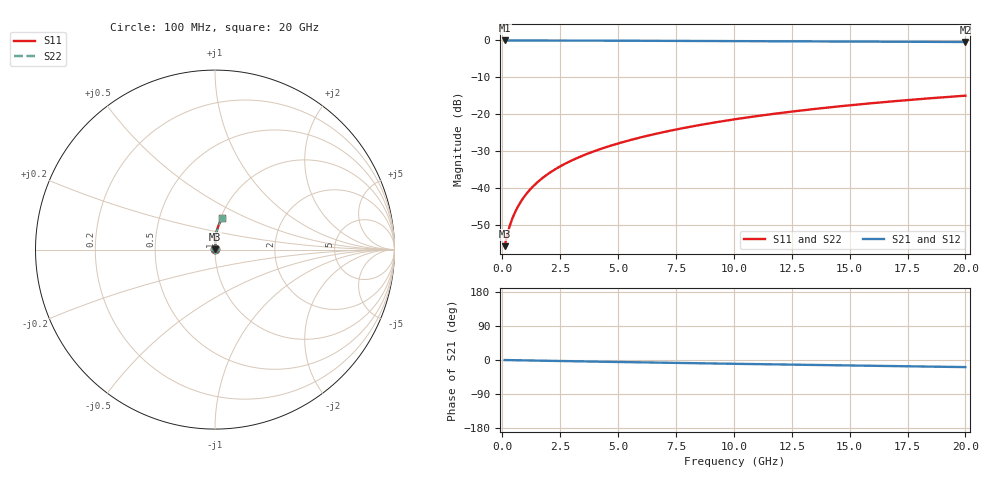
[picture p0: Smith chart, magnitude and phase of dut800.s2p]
! Touchstone file exported from HFSS 2024.1.0
!  File:  C:/UserFiles/LocalFiles/RDL_TSV_Batchsim/temp_RDL_bottom_800_1779861935.aedt
!  Generated:  02:07:44 PM May 27, 2026
!  Design:  RDL_bottom
!  Project:  temp_RDL_bottom_800_1779861935
!  Setup:  Setup1
!  Solution:  Sweep
! Variables:
!  dtsv = 10.80580581um
!  hbump = 3um
!  htsv = 95.8um
!  ldown = 266.58um
!  lrdl = 100um
!  p = 40
!  p1 = 40.22um
!  rhole = 1um
!  t = 450um
!  tdown = 3.79um
!  trdl = 3.915915916um
!  wdown = 20.79um
!  wrdl = 20um
# GHz S MA R 50.000000
! Terminal data exported
! Port[1] = RDL1_T1
! Port[2] = RDL1_T2
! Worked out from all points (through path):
!   200 points, 100 MHz to 20 GHz, reference 50 ohm
!   highest |S21| = -0.01 dB at 100 MHz (marker M1); lowest = -0.4 dB at 20 GHz (marker M2)
!   group delay of S21, straight-line fit = 2.58 ps
!   lowest |S11| = -55.6 dB at 100 MHz (marker M3), VSWR 1.00, Z = 50.1 + j0.0891 ohm
!   |S11| at or under -10 dB: start of sweep to end of sweep
!   |S22| runs from -55.6 to -14.9 dB; largest |S21 - S12| = 5.1e-15
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0.1  0.001656 32.5  0.9986 -0.1  0.9986 -0.1  0.001656 32.5
! Gamma 0 0 0 0
! Port Impedance 50 0 50 0
0.2  0.002271 49.7  0.9985 -0.2  0.9985 -0.2  0.002271 49.7
0.3  0.002964 58.8  0.9984 -0.3  0.9984 -0.3  0.002964 58.8
0.4  0.003674 64.4  0.9983 -0.4  0.9983 -0.4  0.003674 64.4
0.5  0.004395 68.3  0.9983 -0.6  0.9983 -0.6  0.004394 68.3
0.6  0.005125 71.3  0.9982 -0.7  0.9982 -0.7  0.005124 71.3
0.8  0.00661 75.4  0.9981 -0.9  0.9981 -0.9  0.00661 75.4
1.1  0.008883 79.1  0.9979 -1.2  0.9979 -1.2  0.008883 79.1
1.3  0.01042 80.7  0.9977 -1.4  0.9977 -1.4  0.01042 80.7
1.6  0.01275 82.5  0.9974 -1.7  0.9974 -1.7  0.01275 82.5
2.1  0.01667 84.4  0.9969 -2.3  0.9969 -2.3  0.01667 84.4
2.7  0.02144 85.7  0.996 -2.9  0.996 -2.9  0.02144 85.7
3.5  0.02792 86.8  0.9946 -3.7  0.9946 -3.7  0.02792 86.8
4.2  0.03371 87.4  0.9932 -4.4  0.9932 -4.4  0.03371 87.4
5  0.04046 87.7  0.9914 -5.2  0.9914 -5.2  0.04046 87.7
5.9  0.04823 87.8  0.9892 -6.1  0.9892 -6.1  0.04823 87.8
6.8  0.05617 87.7  0.9869 -7.0  0.9869 -7.0  0.05618 87.7
8.4  0.07067 87.1  0.9827 -8.5  0.9827 -8.5  0.07067 87.1
10.1  0.08645 86.1  0.9781 -10.1  0.9781 -10.1  0.08645 86.1
13.4  0.1176 83.4  0.9694 -13.0  0.9694 -13.0  0.1176 83.4
16.7  0.1487 80.3  0.9608 -15.9  0.9608 -15.9  0.1487 80.3
20  0.1791 77.1  0.9523 -18.7  0.9523 -18.7  0.1791 77.2
